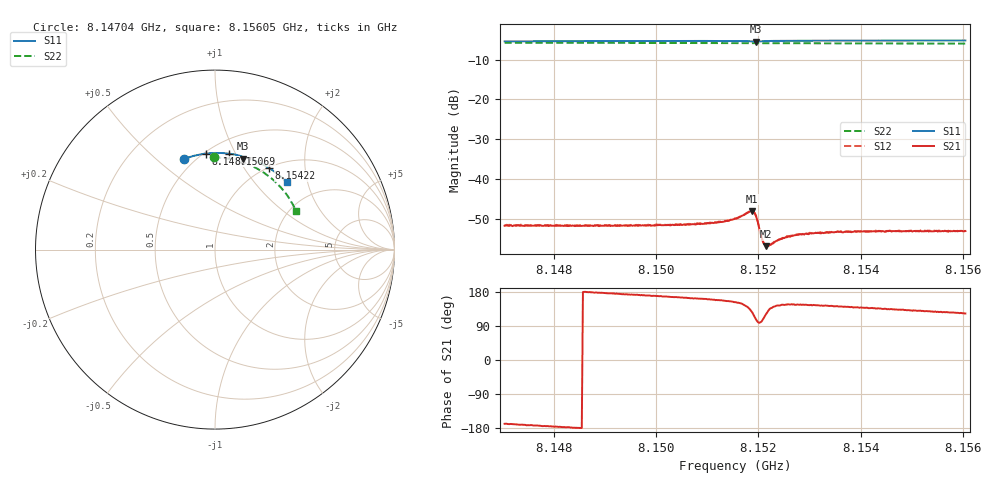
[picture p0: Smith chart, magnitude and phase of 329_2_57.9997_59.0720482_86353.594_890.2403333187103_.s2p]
#  HZ  S  RI  R  50.00
! Rohde & Schwarz Vector Network Analyzer
! Rohde-Schwarz,ZNB20-2Port,1311601062101988,3.16
! Created: UTC 3/21/2024, 1:05:01 AM
! freq[Hz]  re:S11  im:S11  re:S21  im:S21  re:S12  im:S12  re:S22  im:S22
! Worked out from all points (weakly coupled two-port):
!   401 points, 8.14704 GHz to 8.15605 GHz, reference 50 ohm
!   highest |S21| = -47.88 dB at 8.15188 GHz (marker M1); lowest = -56.7 dB at 8.15215 GHz (marker M2)
!   lowest |S11| = -5.5 dB at 8.15195 GHz (marker M3), VSWR 3.26, Z = 37.2 + j52.4 ohm
!   |S11| at or under -10 dB: nowhere
!   |S22| runs from -6.0 to -5.8 dB; largest |S21 - S12| = 0.00012
!   S11 on the Smith chart (normalised r, x): 8.14704 GHz: 0.44, +0.62; 8.14887 GHz: 0.51, +0.77; 8.15069 GHz: 0.62, +0.94; 8.15422 GHz: 1.01, +1.31; 8.15605 GHz: 1.40, +1.50
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8.147043e9  -0.174 0.5049  -0.00257 -0.000528  -0.00262 -0.000483  -0.00578 0.5136
8.148551e9  -0.0723 0.5319  -0.00262 -2.68e-05  -0.00268 3.4e-05  0.0921 0.5034
8.148866e9  -0.0505 0.535  -0.00262 0.000119  -0.00268 0.000149  0.112 0.4991
8.150059e9  0.0324 0.5383  -0.00262 0.00054  -0.00264 0.00061  0.1852 0.4751
8.150689e9  0.0765 0.535  -0.00261 0.000791  -0.00262 0.000847  0.222 0.4581
8.151274e9  0.1173 0.5281  -0.00271 0.0011  -0.00272 0.00118  0.2548 0.4397
8.151544e9  0.1367 0.5233  -0.00287 0.00148  -0.00286 0.00152  0.2694 0.4304
8.151814e9  0.1559 0.5135  -0.00283 0.00267  -0.00284 0.00269  0.2836 0.4205
8.151882e9  0.1586 0.509  -0.00234 0.00329  -0.00228 0.00332  0.2868 0.4179
8.151927e9  0.1583 0.5066  -0.00156 0.00348  -0.0015 0.00348  0.289 0.4162
8.151949e9  0.1577 0.5062  -0.00112 0.00335  -0.00106 0.00343  0.2901 0.4154
8.152084e9  0.1619 0.5112  -0.000468 0.00163  -0.000479 0.00165  0.297 0.4106
8.152107e9  0.1637 0.5117  -0.000556 0.00147  -0.000586 0.00148  0.2981 0.4099
8.152152e9  0.1675 0.512  -0.000757 0.00124  -0.000754 0.00126  0.3004 0.4081
8.152197e9  0.1712 0.5119  -0.000946 0.00111  -0.000922 0.00114  0.3028 0.4063
8.152399e9  0.1866 0.5087  -0.00142 0.00104  -0.00141 0.00104  0.3129 0.3982
8.152602e9  0.2007 0.5043  -0.0016 0.00106  -0.00162 0.00107  0.3227 0.3899
8.153052e9  0.2305 0.4926  -0.00171 0.00124  -0.00174 0.00123  0.3437 0.3705
8.15357e9  0.2631 0.477  -0.00171 0.00139  -0.00171 0.00139  0.3663 0.3471
8.154222e9  0.3021 0.4543  -0.00164 0.00151  -0.00162 0.00156  0.3925 0.3153
8.15456e9  0.3215 0.4415  -0.00157 0.00164  -0.00157 0.00165  0.4049 0.2983
8.156045e9  0.3994 0.3751  -0.00122 0.0019  -0.00123 0.0019  0.4504 0.2177
